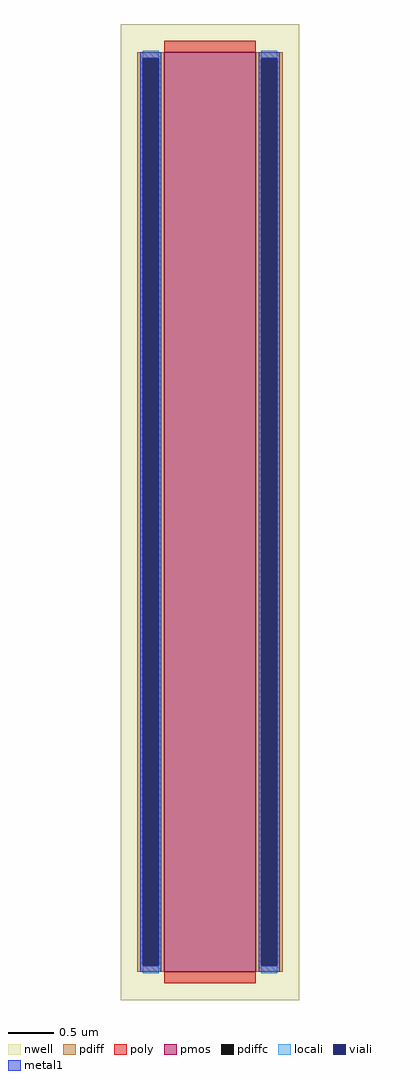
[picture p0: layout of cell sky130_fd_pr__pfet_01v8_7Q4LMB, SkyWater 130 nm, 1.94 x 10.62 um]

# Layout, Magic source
magic
tech sky130A
<< nwell >>
rect -97 -531 97 531
<< pmos >>
rect -50 -500 50 500
<< pdiff >>
rect -79 494 -50 500
rect -79 -494 -73 494
rect -56 -494 -50 494
rect -79 -500 -50 -494
rect 50 494 79 500
rect 50 -494 56 494
rect 73 -494 79 494
rect 50 -500 79 -494
<< pdiffc >>
rect -73 -494 -56 494
rect 56 -494 73 494
<< poly >>
rect -50 500 50 513
rect -50 -513 50 -500
<< locali >>
rect -73 494 -56 502
rect -73 -502 -56 -494
rect 56 494 73 502
rect 56 -502 73 -494
<< viali >>
rect -73 -494 -56 494
rect 56 -494 73 494
<< metal1 >>
rect -76 494 -53 500
rect -76 -494 -73 494
rect -56 -494 -53 494
rect -76 -500 -53 -494
rect 53 494 76 500
rect 53 -494 56 494
rect 73 -494 76 494
rect 53 -500 76 -494
<< properties >>
string gencell sky130_fd_pr__pfet_01v8
string library sky130
string parameters w 10 l 1 m 1 nf 1 diffcov 100 polycov 100 guard 0 glc 1 grc 1 gtc 1 gbc 1 tbcov 100 rlcov 100 topc 0 botc 0 poverlap 0 doverlap 1 lmin 0.15 wmin 0.42 compatible {sky130_fd_pr__pfet_01v8  sky130_fd_pr__pfet_01v8_lvt sky130_fd_pr__pfet_01v8_hvt  sky130_fd_pr__pfet_g5v0d10v5} full_metal 1 viasrc 100 viadrn 100 viagate 100 viagb 0 viagr 0 viagl 0 viagt 0
<< end >>
